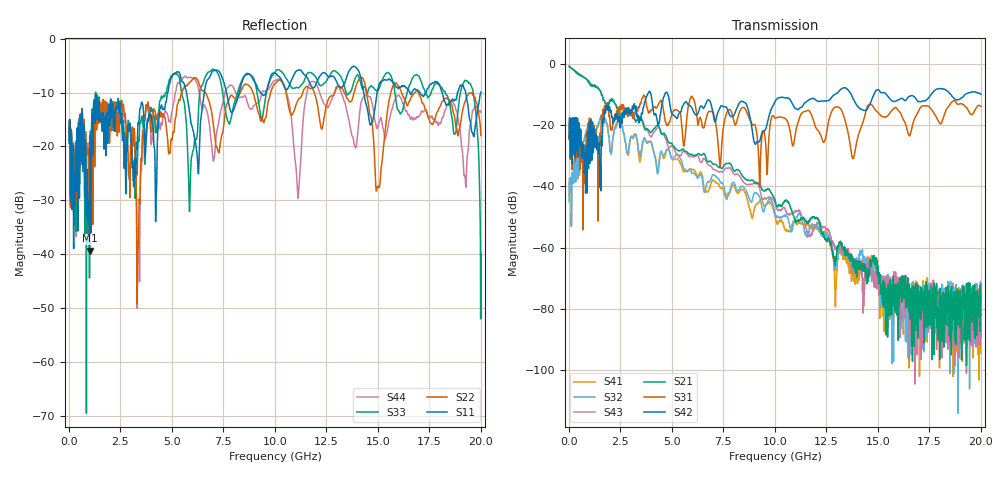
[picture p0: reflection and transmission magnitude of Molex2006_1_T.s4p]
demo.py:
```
# isort: skip_file
"""
An S-parameter automated simulation example for ADS.

This example shows how to instantiate an SnP block, TermGs, and S-param
simulation controller into an ADS schematic.
"""

import os
from pathlib import Path
import re
from typing import List, Literal, Tuple, Union

from keysight import pwdatatools as pwdt
from keysight.edatoolbox import ads as edatoolbox_ads

HPEESOF_DIR = r"C:\Keysight\ADS2025_2_1"
os.environ["HPEESOF_DIR"] = HPEESOF_DIR

from keysight.ads import de as de  # noqa: E402
from keysight.ads.de import db_uu as db_uu # noqa: E402


def add_snp_instance_to_design(
    design: db_uu.Design,
    filepath: Union[str, os.PathLike],
    *,
    origin: Tuple[float, float] = (0, 0),
    name: str = "SnP1",
    portcount: int = -1,
    pin_names: Union[Literal["auto"], List[str]] = "auto",
) -> None:
    """
    Add an SnP instance to an ADS schematic.

    Parameters
    ----------
    design : db_uu.Design
        The design where the SnP instance will be added.
    filepath : Union[str, os.PathLike]
        The path to the SnP file.
    origin : Tuple[float, float], default (0, 0)
        The origin of the SnP instance.
    name : str, default "SnP1"
        The name of the new SnP instance.
    portcount : int, default -1
        The number of ports in the SnP file. If -1, the port count will be extracted
        from the file. If a positive integer, that will be used as the port count.
    pin_names : list of str or "auto", default "auto"
        The names of the SnP symbol's pins. These names are optionally displayed
        on the symbol.  If "auto", port names, if present, are extracted from the file
        and used as the symbol's pin names. If a list of strings is provided, those
        pin names are used as-is. If an empty list, no pin names are shown on the SnP
        symbol.
    """
    snp = design.add_instance(
        db_uu.LCVName("ads_datacmps", "SnP", "symbol"), origin, name=name
    )
    if portcount == -1:
        port_count, portnames_list = get_metadata_from_snp_file(filepath)
        if pin_names != "auto":
            portnames_list = pin_names
    else:
        port_count = portcount
        if pin_names == "auto":
            _, portnames_list = get_metadata_from_snp_file(filepath)
        else:
            portnames_list = pin_names
    port_names_string = make_port_names_string_for_snp_instance(portnames_list)
    with de.db.Transaction(design, "Edit params") as transaction:
        snp.parameters["File"].value = f'"{filepath}"'
        snp.parameters["NumPorts"].value = str(port_count)
        snp.parameters["Type"].value = "TouchstoneType"
        snp.parameters["PinSpacing"].value = "Tight"
        snp.parameters["port_name_list"].value = port_names_string
        snp.invoke_item_parameter_changed_callback(
            ["File", "NumPorts", "Type", "PinSpacing", "port_name_list"]  # type: ignore
        )
        transaction.commit()


def add_s_param_instance_to_design(
    design: db_uu.Design,
    *,
    origin: Tuple[float, float] = (0, 0),
    name: str = "SP1",
    start: float = 1e9,
    stop: float = 10e9,
    step: float = 1e9,
    freq_units: Literal["Hz", "kHz", "MHz", "GHz"] = "GHz",
) -> None:
    """
    Add an S-parameter sweep controller instance to a design.

    Parameters
    ----------
    design : db_uu.Design
        The design where the S-parameter sweep controller will be added.
    origin : Tuple[float, float], default (0, 0)
        The origin of the S-parameter sweep controller instance.
    name : str, default "SP1"
        The name of the new S-parameter sweep controller instance. This is an arbitrary
        decision by the user.
    start : float, default 1e9
        The start frequency of the sweep in Hz.
    stop : float, default 10e9
        The stop frequency of the sweep in Hz.
    step : float, default 1e9
        The frequency step of the sweep in Hz.
    freq_units : Literal["Hz", "kHz", "MHz", "GHz"], default "GHz"
        The frequency units to use in the simulation controller.

    Notes
    -----
    Note that start, stop, and step are *always* provided in Hz. The freq_units
    parameter is used to determine the final frequency units in the simulation
    controller's parameters. The frequency values are divided by the appropriate
    factor based on the freq_units parameter.
    """
    freq_units_upper = freq_units.upper()
    if freq_units_upper not in ("Hz", "KHZ", "MHZ", "GHZ"):
        raise ValueError(
            "Invalid frequency units. Must be 'Hz', 'kHz', 'MHz', or 'GHz'"
        )
    if freq_units_upper == "KHZ":
        freq_unit_final = "kHz"
        divide_by = 1e3
    elif freq_units_upper == "MHZ":
        freq_unit_final = "MHz"
        divide_by = 1e6
    elif freq_units_upper == "GHZ":
        freq_unit_final = "GHz"
        divide_by = 1e9
    else:
        freq_unit_final = "Hz"
        divide_by = 1.0
    start /= divide_by
    stop /= divide_by
    step /= divide_by
    s_param_sweep = design.add_instance(
        ("ads_simulation", "S_Param", "symbol"), origin, name=name
    )
    s_param_sweep.parameters["Start"].value = f"{start} {freq_unit_final}"
    s_param_sweep.parameters["Stop"].value = f"{stop} {freq_unit_final}"
    s_param_sweep.parameters["Step"].value = f"{step} {freq_unit_final}"


def add_termg_instances_to_design(
    design: db_uu.Design,
    *,
    origin: Tuple[float, float] = (0, 0),
    count: int = 1,
    x_offset: float = 2.5,
    y_offset: float = 2.0,
    ncols: int = -1,
    angle: float = -90,
) -> None:
    """
    Add one or more TermG instances to a design.

    The TermG instance names get auto-incremented from "TermG1" to "TermGn".

    Parameters
    ----------
    design : db_uu.Design
        The design where the TermG instances will be added.
    origin : Tuple[float, float], default (0, 0)
        The origin of the first TermG instance.
    count : int, default 1
        The number of TermG instances to add.
    x_offset : float, default 2.5
        The x offset between each TermG instance.
    y_offset : float, default 2.0
        The y offset between each TermG instance.
    ncols : int, default -1
        The number of columns to use when placing the TermG instances.
        This effectively controls the max number of TermG instances per row
        in the schematic. If -1, the number of columns is set to the count.
    angle : float, default -90
        The rotation angle of the TermG instances.
    """
    if ncols == -1:
        ncols = count
    # nrows = (count + ncols - 1) // ncols
    if ncols < 1:
        raise ValueError("ncols must be a positive integer or -1.")
    if count < 0:
        raise ValueError("count must be a non-negative integer")
    for i in range(count):
        name = f"TermG{i + 1}"
        total_x_offset = x_offset * (i % ncols)
        total_y_offset = y_offset * (i // ncols)
        design.add_instance(
            ("ads_simulation", "TermG", "symbol"),
            (origin[0] + total_x_offset, origin[1] - total_y_offset),
            name=name,
            angle=angle,
        )


def add_measeqn_to_design(
    design: db_uu.Design,
    equations: List[str],
    *,
    origin: Tuple[float, float] = (0, 0),
    name: str = "MeasEqn1",
) -> None:
    """
    Add a MeasEqn instance to a design.

    Parameters
    ----------
    design : db_uu.Design
        The design where the MeasEqn instance will be added.
    origin : Tuple[float, float], default (0, 0)
        The origin of the MeasEqn instance.
    name : str, default "MeasEqn1"
        The name of the new MeasEqn instance.
    equations : List[str]
        The equations to add to the MeasEqn instance.

    Notes
    -----
    MeasEqn has a 'SingleTextLine' formset.  You can query as follows:

    >>> measeqn_param = measeqn.parameters["Meas"]
    >>> measeqn_param_definition = measeqn_param.definition
    >>> measeqn_param_formset = measen_param_definition.formset.forms[0]
    >>> measeqn_param_formset_name = measeqn_param_forrmset.name

    To add more than one equation to a single MeasEqn block, you can use the
    `repeats` attribute of the MeasEqn block's `Meas` parameter.  Here is an
    example (where design is a schematic design object):

    >>> measeqn = design.add_instance(
    ...     db_uu.LCVName("ads_simulation", "MeasEqn", "symbol"),
    ...     (0.125, -3.875),
    ...     name="MyEquations",
    ...     angle=270,
    ... )
    >>> measeqn.parameters["Meas"].value = ["x=1"]
    >>> eq2 = de.db.ParamItemString(
    ...     "Meas", "SingleTextLine", "y=42"
    ... )
    >>> eq3 = de.db.ParamItemString(
    ...     "Meas", "SingleTextLine", "z=1e9"
    ... )
    >>> measeqn.parameters["Meas"].repeats.append(eq2)
    >>> measeqn.parameters["Meas"].repeats.append(eq3)
    >>> measeqn.update_item_annotation()
    """
    meas_eqn = design.add_instance(
        ("ads_simulation", "MeasEqn", "symbol"), origin, name=name, angle=-90
    )
    if not equations:
        return
    meas_eqn.parameters["Meas"].value = [equations[0]]
    if len(equations) > 1:
        for eq in equations[1:]:
            meas_eqn.parameters["Meas"].repeats.append(  # type: ignore
                de.db.ParamItemString("Meas", "SingleTextLine", eq)
            )
        meas_eqn.update_item_annotation()


def add_nets_to_instance(instance: db_uu.Instance, *, wire_length: float = 0.5) -> None:
    """
    Add nets to an instance's pins.

    Parameters
    ----------
    instance : db_uu.Instance
        The instance to add nets to.
    wire_length : float, default 0.5
        The length of the wires add to the instance's pins.  Must be greater than 0.
    """
    if wire_length <= 0:
        raise ValueError("wire_length must be greater than 0")
    for inst_pin in instance.inst_pins:
        if len(instance.inst_pins) > 1:
            netname = "Net_" + inst_pin.inst_pin_id.split(".")[1]
        else:
            netname = "Net_" + re.findall(r"\d+", inst_pin.inst_pin_id.split(".")[0])[0]
        point = inst_pin.snap_point
        if point is None:
            continue
        else:
            snap_x = point.x
            snap_y = point.y
            # accounts for rotation
            pin_angle = inst_pin.get_angle_normalized() / 1000.0
            if pin_angle == 0:
                wire = design.add_wire(
                    [(snap_x, snap_y), (snap_x + wire_length, snap_y)]
                )
            elif pin_angle == 90:
                wire = design.add_wire(
                    [(snap_x, snap_y), (snap_x, snap_y + wire_length)]
                )
            elif pin_angle == 180:
                wire = design.add_wire(
                    [(snap_x, snap_y), (snap_x - wire_length, snap_y)]
                )
            else:
                wire = design.add_wire(
                    [(snap_x, snap_y), (snap_x, snap_y - wire_length)]
                )
            wire.add_wire_label(netname)


def get_port_count_from_file_extension(snp_path: Union[str, os.PathLike]) -> int:
    """
    Get the number of ports from the SnP file name.

    Notes
    -----
    This will not work for .ts file extensions, which is a valid
    extension for Touchstone 2.0 files. Also, some tools may use a
    generic .snp extension.  That won't work either.
    """
    _, extension = os.path.splitext(snp_path)
    extension = extension[1:]
    port_count = re.findall(r"\d+", extension)
    if port_count:
        return int(port_count[0])
    else:
        raise ValueError("No port number found from the file name")


def get_metadata_from_snp_file(
    filepath: Union[str, os.PathLike],
) -> Tuple[int, List[str]]:
    """
    Return metadata related to port count and port names from an snp file.

    Parameters
    ----------
    filepath : Union[str, os.PathLike]
        The path to the SnP file.

    Returns
    -------
    Tuple[int, List[str]]
        The number of ports and a list of port names.
    """
    # #TODO once pwdatatools bug is resolved in version 0.11.0, add data=False
    # to file reading function call below to enable metadata-only reading
    group = pwdt.read_file_as_group(filepath)
    # reading as a Group and then selecting just the first Block always
    # works, even for Touchstone files with noise parameters
    block = group.get_member_as_block(0)
    s_param_var = block["S"]
    port_count = s_param_var.shape[-1]
    s_param_highest_dim = s_param_var.dims[-1]
    portname_scale = s_param_highest_dim.get_scale("portname")
    if portname_scale is None:
        portname_list = []
    else:
        index = portname_scale.to_pandas_index()
        assert index.inferred_type == "string"
        portname_list = index.tolist()
    return port_count, portname_list


def make_port_names_string_for_snp_instance(portnames: List[str]) -> str:
    """
    Make portnames string for an SnP block's `port_names_list` parameter.

    If no portnames are shown on the SnP instance, the string is "0".
    Otherwise, it is in the following form:
    "1 <length of largest port name> <list of port names in order>
    """
    if not portnames:
        return "0"
    longest_portname = max(portnames, key=len)
    return f"1 {len(longest_portname)} {' '.join(portnames)}"


SNP_FILES = ("Molex2006_1_T_portnames.s4p", "Molex2006_1_T.s4p")
if "__file__" in globals():
    HERE = Path(__file__).parent  # running as a script
else:
    HERE = Path(os.getcwd()).parent  # running in an interactive session
SNP_PATH = HERE / SNP_FILES[0]
WRK_NAME = "test_wrk"
WRK_PATH = HERE / WRK_NAME
LIB_NAME = "test_library"
LIB_PATH = WRK_PATH / LIB_NAME
CELL_NAME = "test_sch"

if WRK_PATH.exists():
    if de.workspace_is_open():
        workspace = de.active_workspace()
    else:
        workspace = de.open_workspace(WRK_PATH)
else:
    workspace = de.create_workspace(WRK_PATH)
    worksapce = de.open_workspace(WRK_PATH)

if LIB_PATH.exists():
    lib = de.Library.open(LIB_NAME, LIB_PATH, de.LibraryMode.SHARED)
else:
    lib = de.create_new_library(LIB_NAME, LIB_PATH)
    workspace.add_library(LIB_NAME, LIB_PATH, de.LibraryMode.SHARED)

if not lib.cell_exists(CELL_NAME):
    design = db_uu.create_schematic(name=(LIB_NAME, CELL_NAME, "schematic"))
    design.save_design()
design = db_uu.open_design(
    name=(LIB_NAME, CELL_NAME, "schematic"), mode=db_uu.DesignMode.WRITE
)
portcount, portnames = get_metadata_from_snp_file(SNP_PATH)
add_snp_instance_to_design(
    design,
    origin=(0, 0),
    name="SnP1",
    filepath=SNP_PATH,
    portcount=portcount,
    pin_names=portnames,
)
add_s_param_instance_to_design(
    design,
    origin=(0, -1),
    name="SP1",
    start=1e6,
    stop=10e9,
    step=100e6,
    freq_units="GHz",
)
add_termg_instances_to_design(design, origin=(-1, -3.5), count=portcount, ncols=2)
for instance in design.instances:
    add_nets_to_instance(instance, wire_length=0.5)
add_measeqn_to_design(
    design,
    ["x=1", "y=1", "z=1e9"],
    origin=(0, -5),
    name="MeasEqn1",
)
design.save_design()
netlist = design.generate_netlist()
ckt_sim = edatoolbox_ads.CircuitSimulator()
output_path = WRK_PATH / "output" / CELL_NAME
output_path.mkdir(parents=True, exist_ok=True)
ckt_sim.run_netlist(netlist, output_dir=str(output_path))
lib.close()
workspace.close()
```
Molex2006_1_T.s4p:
! FILE: D:\users\goganessyan\New IEEE Channels\N13SI_1m_in_JK3.s4p
# MHz S MA R 50.00
! FREQ  S11  S12  S13  S14
!  S21  S22  S23  S24
!  S31  S32  S33  S34
!  S41  S42  S43  S44
!  MAG  ANG  MAG  ANG  MAG  ANG  MAG  ANG
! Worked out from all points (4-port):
!   2000 points, 10 MHz to 20 GHz, reference 50 ohm
!   strongest paths, dB at 10 MHz, 5.01 GHz, 10.01 GHz, 15.01 GHz, 20 GHz:
!     S42: -24.4, -16.2, -12.3, -8.4, -10.0
!     S31: -24.7, -16.3, -17.7, -15.9, -13.8
!     S21: -0.8, -26.1, -44.5, -66.0, -71.9
!     S43: -0.8, -26.8, -45.6, -72.5, -84.3
!     S32: -45.0, -30.9, -48.8, -71.1, -77.5
!     S41: -43.0, -31.1, -49.9, -70.8, -76.8
!   lowest |S11| = -39.4 dB at 1 GHz (marker M1), VSWR 1.02, Z = 49.1 - j0.578 ohm
!   |S11| at or under -10 dB: start of sweep to 4.801 GHz; 5.709 GHz to 6.571 GHz (861.9 MHz wide, 14 % of centre); 18.12 GHz to 18.87 GHz (748.5 MHz wide, 4.05 % of centre)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
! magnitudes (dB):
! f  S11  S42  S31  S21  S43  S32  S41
! 10 MHz  -19.4  -24.4  -24.7  -0.8  -0.8  -45.0  -43.0
! 1 GHz  -39.4  -18.7  -17.7  -6.5  -6.4  -19.5  -19.4
! 20 GHz  -9.9  -10.0  -13.8  -71.9  -84.3  -77.5  -76.8
